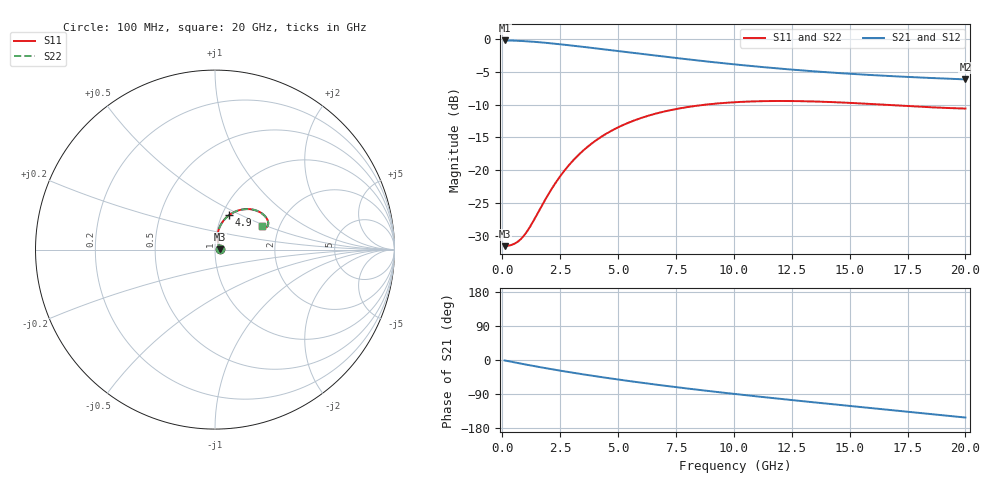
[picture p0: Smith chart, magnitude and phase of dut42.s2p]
! Created with skrf 1.9.0 (http://scikit-rf.org).
# GHz S RI R 50.0
!freq ReS11 ImS11 ReS21 ImS21 ReS12 ImS12 ReS22 ImS22
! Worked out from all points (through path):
!   200 points, 100 MHz to 20 GHz, reference 50 ohm
!   highest |S21| = -0.23 dB at 100 MHz (marker M1); lowest = -6.2 dB at 20 GHz (marker M2)
!   group delay of S21, straight-line fit = 20.1 ps
!   lowest |S11| = -31.6 dB at 100 MHz (marker M3), VSWR 1.05, Z = 52.7 + j0.194 ohm
!   |S11| at or under -10 dB: start of sweep to 8.835 GHz; 16.34 GHz to end of sweep
!   |S22| runs from -31.6 to -9.5 dB; largest |S21 - S12| = 2.5e-15
!   S11 on the Smith chart (normalised r, x): 100 MHz: 1.05, +0.00; 4.9 GHz: 1.08, +0.43; 20 GHz: 1.64, +0.47
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0.1  0.0262 0.00184  0.9734 -0.02  0.9734 -0.02  0.0262 0.00184
0.5  0.0248 0.0115  0.965 -0.1008  0.965 -0.1008  0.0248 0.0115
0.7  0.0235 0.0166  0.957 -0.1399  0.957 -0.1399  0.0235 0.0166
0.9  0.0218 0.0222  0.9466 -0.178  0.9466 -0.178  0.0218 0.0222
1.2  0.019 0.0318  0.927 -0.2327  0.927 -0.2327  0.019 0.0318
2  0.0139 0.0644  0.8564 -0.3617  0.8564 -0.3617  0.0139 0.0644
2.4  0.0146 0.0835  0.8141 -0.4163  0.8141 -0.4163  0.0146 0.0835
2.9  0.0196 0.1085  0.7574 -0.4757  0.7574 -0.4757  0.0196 0.1085
3.5  0.0316 0.1376  0.6859 -0.5348  0.6859 -0.5348  0.0316 0.1376
4.2  0.0526 0.1678  0.6006 -0.5886  0.6006 -0.5886  0.0526 0.1678
4.9  0.0788 0.192  0.5156 -0.628  0.5156 -0.628  0.0788 0.192
5.8  0.1162 0.2131  0.4095 -0.6607  0.4095 -0.6607  0.1162 0.2131
6.8  0.1579 0.2244  0.2985 -0.6774  0.2985 -0.6774  0.1579 0.2244
8.3  0.2128 0.2224  0.1493 -0.6733  0.1493 -0.6733  0.2128 0.2224
9.2  0.2393 0.214  0.0705 -0.6588  0.0705 -0.6588  0.2393 0.214
10.1  0.2603 0.2024  -0.000791 -0.6379  -0.000791 -0.6379  0.2603 0.2024
11.7  0.285 0.1785  -0.1104 -0.5898  -0.1104 -0.5898  0.285 0.1785
13.4  0.296 0.1542  -0.2065 -0.5284  -0.2065 -0.5284  0.296 0.1542
15  0.2956 0.1364  -0.2812 -0.4641  -0.2812 -0.4641  0.2956 0.1364
16.7  0.2875 0.1253  -0.3463 -0.3901  -0.3463 -0.3901  0.2875 0.1253
18.4  0.2756 0.1234  -0.3976 -0.3109  -0.3976 -0.3109  0.2756 0.1234
20  0.2643 0.1299  -0.4333 -0.2321  -0.4333 -0.2321  0.2643 0.1299
